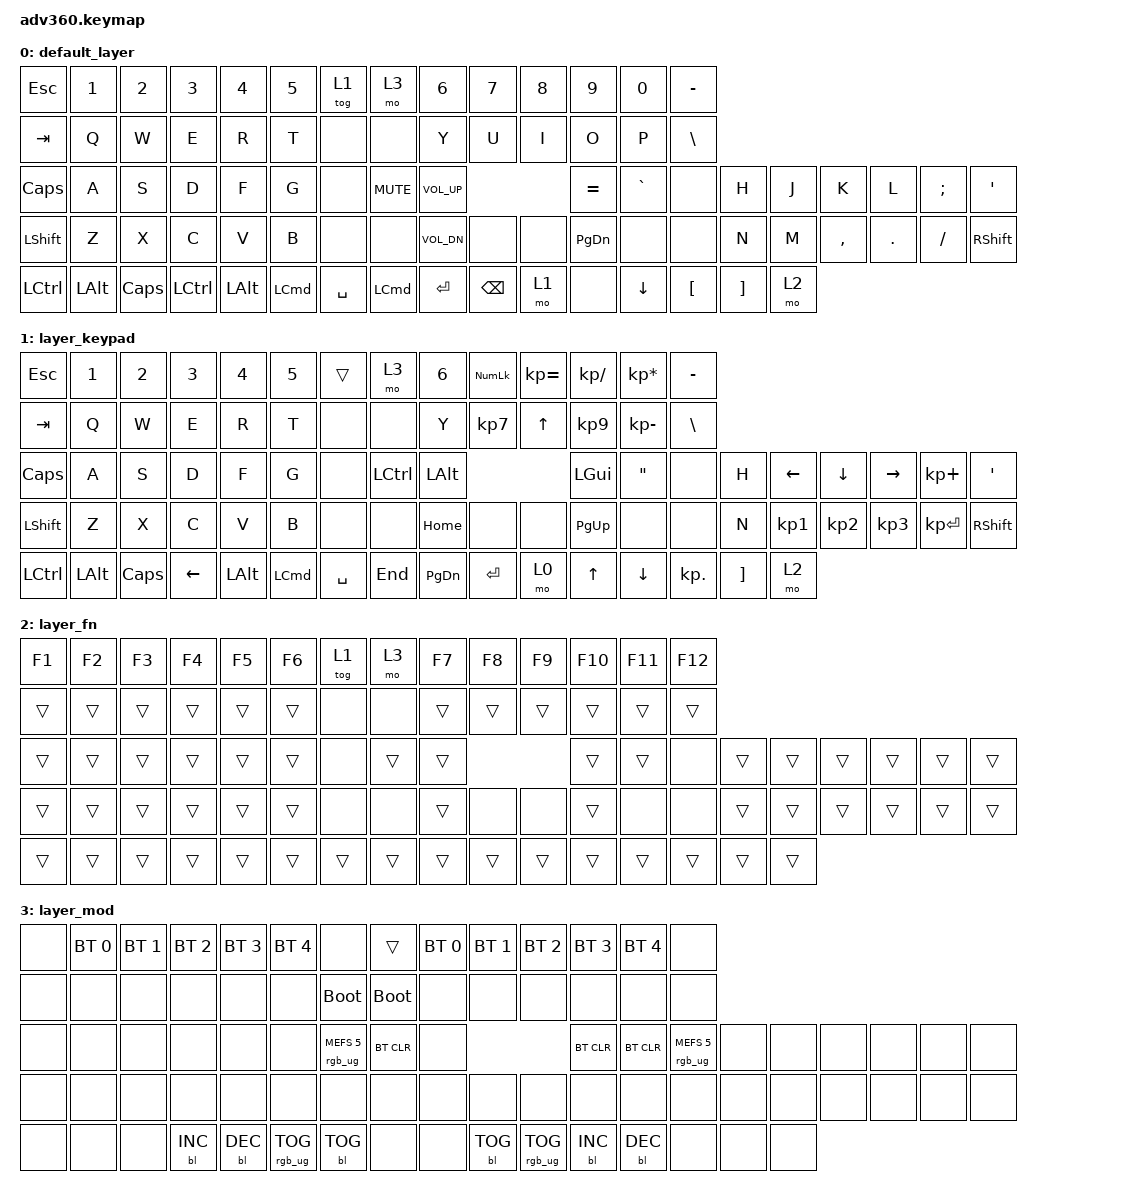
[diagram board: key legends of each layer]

/*
 * Copyright (c) 2020 The ZMK Contributors
 *
 * SPDX-License-Identifier: MIT
 */


/* THIS FILE WAS GENERATED!
 *
 * This file was generated automatically. You may or may not want to
 * edit it directly.
 */

#include <behaviors.dtsi>
#include <dt-bindings/zmk/keys.h>
#include <dt-bindings/zmk/bt.h>
#include <dt-bindings/zmk/rgb.h>
#include <dt-bindings/zmk/backlight.h>

/ {
  behaviors {
    #include "macros.dtsi"

    hm: homerow_mods {
        compatible = "zmk,behavior-hold-tap";
        label = "HOMEROW_MODS";
        #binding-cells = <2>;
        tapping-term-ms = <200>;
        quick_tap_ms = <175>;
        flavor = "tap-preferred";
        bindings = <&kp>, <&kp>;
    };
  };

    keymap {
        compatible = "zmk,keymap";


        default_layer {
            bindings = <
      &kp ESC        &kp N1    &kp N2            &kp N3        &kp N4            &kp N5               &tog 1             &mo 3        &kp N6         &kp N7  &kp N8     &kp N9     &kp N0  &kp MINUS
      &kp TAB         &kp Q     &kp W             &kp E         &kp R             &kp T                &none             &none         &kp Y          &kp U   &kp I      &kp O      &kp P   &kp BSLH
 &kp CAPSLOCK         &kp A     &kp S             &kp D         &kp F             &kp G                &none        &kp C_MUTE  &kp C_VOL_UP                         &kp EQUAL  &kp GRAVE      &none     &kp H   &kp J      &kp K    &kp L  &kp SEMI  &kp SINGLE_QUOTE
    &kp LSHFT         &kp Z     &kp X             &kp C         &kp V             &kp B                &none             &none  &kp C_VOL_DN          &none   &none  &kp PG_DN      &none      &none     &kp N   &kp M  &kp COMMA  &kp DOT  &kp FSLH   &kp RIGHT_SHIFT
    &kp LCTRL  &kp LEFT_ALT  &kp CAPS  &kp LEFT_CONTROL  &kp LEFT_ALT  &kp LEFT_COMMAND            &kp SPACE  &kp LEFT_COMMAND     &kp ENTER  &kp BACKSPACE   &mo 1      &none   &kp DOWN   &kp LBKT  &kp RBKT   &mo 2
            >;
        };

        layer_keypad {
            bindings = <
   &kp ESC        &kp N1    &kp N2    &kp N3        &kp N4            &kp N5               &trans      &mo 3     &kp N6  &kp KP_NUM  &kp KP_EQUAL  &kp KP_DIVIDE    &kp KP_MULTIPLY   &kp MINUS
   &kp TAB         &kp Q     &kp W     &kp E         &kp R             &kp T                &none      &none      &kp Y   &kp KP_N7        &kp UP      &kp KP_N9       &kp KP_MINUS    &kp BSLH
  &kp CAPS         &kp A     &kp S     &kp D         &kp F             &kp G                &none  &kp LCTRL   &kp LALT                                 &kp LGUI  &kp DOUBLE_QUOTES       &none     &kp H   &kp LEFT   &kp DOWN  &kp RIGHT   &kp KP_PLUS    &kp SQT
 &kp LSHFT         &kp Z     &kp X     &kp C         &kp V             &kp B                &none      &none   &kp HOME       &none         &none      &kp PG_UP              &none       &none     &kp N  &kp KP_N1  &kp KP_N2  &kp KP_N3  &kp KP_ENTER  &kp RSHFT
 &kp LCTRL  &kp LEFT_ALT  &kp CAPS  &kp LEFT  &kp LEFT_ALT  &kp LEFT_COMMAND            &kp SPACE    &kp END  &kp PG_DN   &kp ENTER         &mo 0         &kp UP           &kp DOWN  &kp KP_DOT  &kp RBKT      &mo 2
            >;
        };

        layer_fn {
            bindings = <
 &kp F1  &kp F2  &kp F3  &kp F4  &kp F5  &kp F6            &tog 1   &mo 3  &kp F7  &kp F8  &kp F9  &kp F10  &kp F11  &kp F12
 &trans  &trans  &trans  &trans  &trans  &trans             &none   &none  &trans  &trans  &trans   &trans   &trans   &trans
 &trans  &trans  &trans  &trans  &trans  &trans             &none  &trans  &trans                   &trans   &trans    &none  &trans  &trans  &trans  &trans  &trans  &trans
 &trans  &trans  &trans  &trans  &trans  &trans             &none   &none  &trans   &none   &none   &trans    &none    &none  &trans  &trans  &trans  &trans  &trans  &trans
 &trans  &trans  &trans  &trans  &trans  &trans            &trans  &trans  &trans  &trans  &trans   &trans   &trans   &trans  &trans  &trans
            >;
        };

        layer_mod {
            bindings = <
  &none  &bt BT_SEL 0  &bt BT_SEL 1  &bt BT_SEL 2  &bt BT_SEL 3     &bt BT_SEL 4                             &none       &trans  &bt BT_SEL 0  &bt BT_SEL 1     &bt BT_SEL 2  &bt BT_SEL 3  &bt BT_SEL 4                   &none
  &none         &none         &none         &none         &none            &none                       &bootloader  &bootloader         &none         &none            &none         &none         &none                   &none
  &none         &none         &none         &none         &none            &none            &rgb_ug RGB_MEFS_CMD 5   &bt BT_CLR         &none                                   &bt BT_CLR    &bt BT_CLR  &rgb_ug RGB_MEFS_CMD 5   &none   &none   &none   &none   &none   &none
  &none         &none         &none         &none         &none            &none                             &none        &none         &none         &none            &none         &none         &none                   &none   &none   &none   &none   &none   &none   &none
  &none         &none         &none    &bl BL_INC    &bl BL_DEC  &rgb_ug RGB_TOG                        &bl BL_TOG        &none         &none    &bl BL_TOG  &rgb_ug RGB_TOG    &bl BL_INC    &bl BL_DEC                   &none   &none   &none
            >;
        };

    };
};
